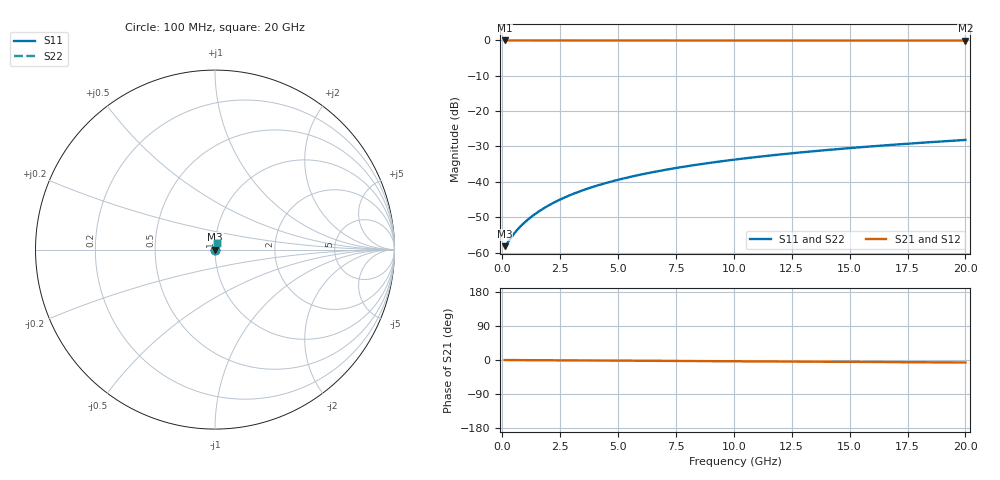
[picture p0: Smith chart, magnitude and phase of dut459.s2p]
! Touchstone file exported from HFSS 2026.1.0
!  File:  C:/ffzhzh/LocalFiles/Ansys_Project_Files/temp_train_TMRDL_459_1783005969_55676.aedt
!  Generated:  11:27:31 PM Jul  2, 2026
!  Design:  TMRDL
!  Project:  temp_train_TMRDL_459_1783005969_55676
! Variables:
!  h_bsmrdl = 2um
!  h_ox = 20um
!  h_rdl = 5um
!  h_sub = 80um
!  h_tmrdl = 3.2um
!  h_tsv = 80um
!  h_via = 3um
!  l_bsmrdl = 300um
!  l_sub = 502.14um
!  l_tmrdl = 102.14um
!  m_sub = 200um
!  pitch = 17.46um
!  r_tsv = 6um
!  s_tmrdl = 10um
!  w_bsmrdl = 18um
!  w_sub = 500um
!  w_tmrdl = 11.25um
!  x_tsv_center1 = 107.765um
!  x_tsv_center2 = 425.765um
!  x_tsv_center3 = 539.155um
!  x_tsv_center4 = 857.155um
!  x_tsv_center5 = 970.545um
!  x_tsv_center6 = 1288.545um
# GHz S MA R 50.000000
! Terminal data exported
! Port[1] = TM_RDL1_1_T1
! Port[2] = TM_RDL1_1_T2
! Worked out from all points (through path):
!   200 points, 100 MHz to 20 GHz, reference 50 ohm
!   highest |S21| = -0.01 dB at 100 MHz (marker M1); lowest = 0.0 dB at 20 GHz (marker M2)
!   lowest |S11| = -58.2 dB at 100 MHz (marker M3), VSWR 1.00, Z = 50.1 + j0.0271 ohm
!   |S11| at or under -10 dB: start of sweep to end of sweep
!   |S22| runs from -58.2 to -28.2 dB; largest |S21 - S12| = 5.3e-15
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0.1  0.001229 12.7  0.9988 -0.0  0.9988 -0.0  0.001229 12.7
! Gamma 0 0 0 0
! Port Impedance 50 0 50 0
0.2  0.001336 23.5  0.9988 -0.1  0.9988 -0.1  0.001336 23.5
0.5  0.001831 42.7  0.9987 -0.2  0.9987 -0.2  0.001831 42.7
0.7  0.002189 49.7  0.9986 -0.2  0.9986 -0.2  0.002189 49.7
1  0.00273 56.8  0.9985 -0.3  0.9985 -0.3  0.00273 56.8
1.2  0.003097 60.3  0.9985 -0.4  0.9985 -0.4  0.003097 60.3
1.4  0.003471 63.1  0.9984 -0.5  0.9984 -0.5  0.003471 63.1
1.8  0.004238 67.3  0.9984 -0.6  0.9984 -0.6  0.004238 67.3
2.3  0.005222 70.9  0.9983 -0.8  0.9983 -0.8  0.005222 70.9
2.9  0.006424 73.6  0.9983 -1.0  0.9983 -1.0  0.006424 73.6
3.5  0.007637 75.4  0.9982 -1.2  0.9982 -1.2  0.007637 75.4
4.2  0.009057 76.7  0.9981 -1.4  0.9981 -1.4  0.009057 76.7
5  0.01068 77.7  0.998 -1.7  0.998 -1.7  0.01068 77.7
5.9  0.01249 78.3  0.9978 -2.0  0.9978 -2.0  0.01249 78.3
6.8  0.01429 78.6  0.9976 -2.3  0.9976 -2.3  0.01429 78.6
8.3  0.01725 78.8  0.9973 -2.8  0.9973 -2.8  0.01725 78.9
10.1  0.02075 78.8  0.997 -3.4  0.997 -3.4  0.02075 78.8
11.7  0.02381 78.6  0.9966 -3.9  0.9966 -3.9  0.02381 78.6
13.4  0.02701 78.3  0.9962 -4.4  0.9962 -4.4  0.02701 78.3
15  0.02998 78.0  0.9959 -4.9  0.9959 -4.9  0.02998 78.1
16.7  0.03312 77.7  0.9955 -5.5  0.9955 -5.5  0.03312 77.7
20  0.03912 77.0  0.9949 -6.5  0.9949 -6.5  0.03912 77.0
